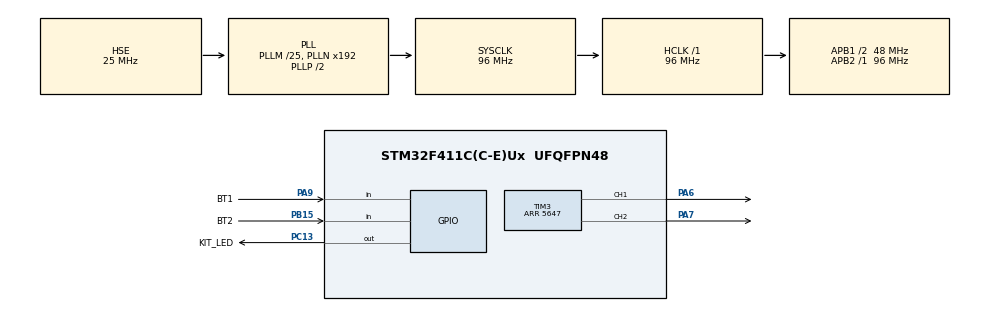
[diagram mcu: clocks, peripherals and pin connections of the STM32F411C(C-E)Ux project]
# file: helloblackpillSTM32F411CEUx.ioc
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Mcu.Family=STM32F4
Mcu.Name=STM32F411C(C-E)Ux
Mcu.Package=UFQFPN48
NVIC.PriorityGroup=NVIC_PRIORITYGROUP_4
NVIC.TIM3_IRQn=true\:0\:0\:false\:false\:true\:true\:true\:true
PA13.Mode=Serial_Wire
PA13.Signal=SYS_JTMS-SWDIO
PA14.Mode=Serial_Wire
PA14.Signal=SYS_JTCK-SWCLK
PA6.Signal=S_TIM3_CH1
PA7.Signal=S_TIM3_CH2
PA9.GPIO_Label=BT1
PA9.Signal=GPIO_Input
PB15.GPIO_Label=BT2
PB15.Signal=GPIO_Input
PC13-ANTI_TAMP.GPIO_Label=KIT_LED
PC13-ANTI_TAMP.Signal=GPIO_Output
PC14-OSC32_IN.Mode=LSE-External-Oscillator
PC14-OSC32_IN.Signal=RCC_OSC32_IN
PC15-OSC32_OUT.Mode=LSE-External-Oscillator
PC15-OSC32_OUT.Signal=RCC_OSC32_OUT
PH0\ -\ OSC_IN.Mode=HSE-External-Oscillator
PH0\ -\ OSC_IN.Signal=RCC_OSC_IN
PH1\ -\ OSC_OUT.Mode=HSE-External-Oscillator
PH1\ -\ OSC_OUT.Signal=RCC_OSC_OUT
ProjectManager.HeapSize=0x200
ProjectManager.StackSize=0x400
ProjectManager.TargetToolchain=Makefile
RCC.48MHZClocksFreq_Value=48000000
RCC.AHBFreq_Value=96000000
RCC.APB1CLKDivider=RCC_HCLK_DIV2
RCC.APB1Freq_Value=48000000
RCC.APB1TimFreq_Value=96000000
RCC.APB2Freq_Value=96000000
RCC.APB2TimFreq_Value=96000000
RCC.CortexFreq_Value=96000000
RCC.HCLKFreq_Value=96000000
RCC.HSE_VALUE=25000000
RCC.HSI_VALUE=16000000
RCC.PLLM=25
RCC.PLLSourceVirtual=RCC_PLLSOURCE_HSE
RCC.SYSCLKFreq_VALUE=96000000
RCC.SYSCLKSource=RCC_SYSCLKSOURCE_PLLCLK
RCC.VCOOutputFreq_Value=192000000
SH.S_TIM3_CH1.0=TIM3_CH1,PWM Generation1 CH1
SH.S_TIM3_CH2.0=TIM3_CH2,PWM Generation2 CH2
TIM3.Channel-PWM\ Generation1\ CH1=TIM_CHANNEL_1
TIM3.Channel-PWM\ Generation2\ CH2=TIM_CHANNEL_2
TIM3.Period=5647
TIM3.Pulse-PWM\ Generation1\ CH1=2824
TIM3.Pulse-PWM\ Generation2\ CH2=2824
VP_TIM3_VS_ClockSourceINT.Mode=Internal
board=custom

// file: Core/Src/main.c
/* USER CODE BEGIN Header */
/**
  ******************************************************************************
  * @file           : main.c
  * @brief          : Main program body
  ******************************************************************************
  * @attention
  *
  * Copyright (c) 2022 STMicroelectronics.
  * All rights reserved.
  *
  * This software is licensed under terms that can be found in the LICENSE file
  * in the root directory of this software component.
  * If no LICENSE file comes with this software, it is provided AS-IS.
  *
  ******************************************************************************
  */
/* USER CODE END Header */
#include "main.h"

/* USER CODE BEGIN Includes */
#include "button.h"

/* USER CODE END Includes */

TIM_HandleTypeDef htim3;

void SystemClock_Config(void);
static void MX_GPIO_Init(void);
static void MX_TIM3_Init(void);

int main(void)
{

  /* USER CODE BEGIN 1 */
    uint32_t i;
    uint32_t j = 0;
  /* USER CODE END 1 */

  /* MCU Configuration--------------------------------------------------------*/

  /* Reset of all peripherals, Initializes the Flash interface and the Systick. */
  HAL_Init();

  /* Configure the system clock */
  SystemClock_Config();

  /* Initialize all configured peripherals */
  MX_GPIO_Init();
  MX_TIM3_Init();
  /* USER CODE BEGIN 2 */
  HAL_TIM_PWM_Start(&htim3, TIM_CHANNEL_1);
  HAL_TIM_PWM_Start(&htim3, TIM_CHANNEL_2);
  /* USER CODE END 2 */

  /* Infinite loop */
  /* USER CODE BEGIN WHILE */
  while (1)
{
    for(i = 0; i < 100; i++)
    {
      htim3.Instance->CCR1 = (htim3.Instance->ARR*i)/100;
      if(button_release(BT1_GPIO_Port, BT1_Pin, 0))
      {
        if(j<200)
        {
          j = j + 25;
          htim3.Instance->CCR2 = (htim3.Instance->ARR*j)/200;
        }
        else if (j>=200)
        {
          j = 200;
          htim3.Instance->CCR2 = (htim3.Instance->ARR*j)/200;
        }
      }
      if(button_release(BT2_GPIO_Port, BT2_Pin, 0))
      {
        if(j>0)
        {
          j = j - 25;
          htim3.Instance->CCR2 = (htim3.Instance->ARR*j)/200;
        }
        else if (j<=0)
        {
          j = 0;
          htim3.Instance->CCR2 = (htim3.Instance->ARR*j)/200;
        }
      }
      HAL_Delay(40);
    }
    for(i = 100; i > 0; i--)
    {
      htim3.Instance->CCR1 = (htim3.Instance->ARR*i)/100;
      if(button_release(BT1_GPIO_Port, BT1_Pin, 0))
      {
        if(j<200)
        {
          j = j + 25;
          htim3.Instance->CCR2 = (htim3.Instance->ARR*j)/200;
        }
        else if (j>=200)
        {
          j = 200;
          htim3.Instance->CCR2 = (htim3.Instance->ARR*j)/200;
        }
      }
      if(button_release(BT2_GPIO_Port, BT2_Pin, 0))
      {
        if(j>0)
        {
          j = j - 25;
          htim3.Instance->CCR2 = (htim3.Instance->ARR*j)/200;
        }
        else if (j<=0)
        {
          j = 0;
          htim3.Instance->CCR2 = (htim3.Instance->ARR*j)/200;
        }
      }
      HAL_Delay(20);
    }
    /* USER CODE END WHILE */

    /* USER CODE BEGIN 3 */
  }

}

    /* USER CODE END WHILE */

    /* USER CODE BEGIN 3 */

  /* USER CODE END 3 */

void SystemClock_Config(void)
{
  RCC_OscInitTypeDef RCC_OscInitStruct = {0};
  RCC_ClkInitTypeDef RCC_ClkInitStruct = {0};

  /** Configure the main internal regulator output voltage
  */
  __HAL_RCC_PWR_CLK_ENABLE();
  __HAL_PWR_VOLTAGESCALING_CONFIG(PWR_REGULATOR_VOLTAGE_SCALE1);

  /** Initializes the RCC Oscillators according to the specified parameters
  * in the RCC_OscInitTypeDef structure.
  */
  RCC_OscInitStruct.OscillatorType = RCC_OSCILLATORTYPE_HSE;
  RCC_OscInitStruct.HSEState = RCC_HSE_ON;
  RCC_OscInitStruct.PLL.PLLState = RCC_PLL_ON;
  RCC_OscInitStruct.PLL.PLLSource = RCC_PLLSOURCE_HSE;
  RCC_OscInitStruct.PLL.PLLM = 25;
  RCC_OscInitStruct.PLL.PLLN = 192;
  RCC_OscInitStruct.PLL.PLLP = RCC_PLLP_DIV2;
  RCC_OscInitStruct.PLL.PLLQ = 4;
  if (HAL_RCC_OscConfig(&RCC_OscInitStruct) != HAL_OK)
  {
    Error_Handler();
  }

  /** Initializes the CPU, AHB and APB buses clocks
  */
  RCC_ClkInitStruct.ClockType = RCC_CLOCKTYPE_HCLK|RCC_CLOCKTYPE_SYSCLK
                              |RCC_CLOCKTYPE_PCLK1|RCC_CLOCKTYPE_PCLK2;
  RCC_ClkInitStruct.SYSCLKSource = RCC_SYSCLKSOURCE_PLLCLK;
  RCC_ClkInitStruct.AHBCLKDivider = RCC_SYSCLK_DIV1;
  RCC_ClkInitStruct.APB1CLKDivider = RCC_HCLK_DIV2;
  RCC_ClkInitStruct.APB2CLKDivider = RCC_HCLK_DIV1;

  if (HAL_RCC_ClockConfig(&RCC_ClkInitStruct, FLASH_LATENCY_3) != HAL_OK)
  {
    Error_Handler();
  }
}

static void MX_TIM3_Init(void)
{

  TIM_ClockConfigTypeDef sClockSourceConfig = {0};
  TIM_MasterConfigTypeDef sMasterConfig = {0};
  TIM_OC_InitTypeDef sConfigOC = {0};

  htim3.Instance = TIM3;
  htim3.Init.Prescaler = 0;
  htim3.Init.CounterMode = TIM_COUNTERMODE_UP;
  htim3.Init.Period = 5647;
  htim3.Init.ClockDivision = TIM_CLOCKDIVISION_DIV1;
  htim3.Init.AutoReloadPreload = TIM_AUTORELOAD_PRELOAD_DISABLE;
  if (HAL_TIM_Base_Init(&htim3) != HAL_OK)
  {
    Error_Handler();
  }
  sClockSourceConfig.ClockSource = TIM_CLOCKSOURCE_INTERNAL;
  if (HAL_TIM_ConfigClockSource(&htim3, &sClockSourceConfig) != HAL_OK)
  {
    Error_Handler();
  }
  if (HAL_TIM_PWM_Init(&htim3) != HAL_OK)
  {
    Error_Handler();
  }
  sMasterConfig.MasterOutputTrigger = TIM_TRGO_RESET;
  sMasterConfig.MasterSlaveMode = TIM_MASTERSLAVEMODE_DISABLE;
  if (HAL_TIMEx_MasterConfigSynchronization(&htim3, &sMasterConfig) != HAL_OK)
  {
    Error_Handler();
  }
  sConfigOC.OCMode = TIM_OCMODE_PWM1;
  sConfigOC.Pulse = 2824;
  sConfigOC.OCPolarity = TIM_OCPOLARITY_HIGH;
  sConfigOC.OCFastMode = TIM_OCFAST_DISABLE;
  if (HAL_TIM_PWM_ConfigChannel(&htim3, &sConfigOC, TIM_CHANNEL_1) != HAL_OK)
  {
    Error_Handler();
  }
  if (HAL_TIM_PWM_ConfigChannel(&htim3, &sConfigOC, TIM_CHANNEL_2) != HAL_OK)
  {
    Error_Handler();
  }
  HAL_TIM_MspPostInit(&htim3);

}

static void MX_GPIO_Init(void)
{
  GPIO_InitTypeDef GPIO_InitStruct = {0};

  /* GPIO Ports Clock Enable */
  __HAL_RCC_GPIOC_CLK_ENABLE();
  __HAL_RCC_GPIOH_CLK_ENABLE();
  __HAL_RCC_GPIOA_CLK_ENABLE();
  __HAL_RCC_GPIOB_CLK_ENABLE();

  /*Configure GPIO pin Output Level */
  HAL_GPIO_WritePin(KIT_LED_GPIO_Port, KIT_LED_Pin, GPIO_PIN_RESET);

  /*Configure GPIO pin : KIT_LED_Pin */
  GPIO_InitStruct.Pin = KIT_LED_Pin;
  GPIO_InitStruct.Mode = GPIO_MODE_OUTPUT_PP;
  GPIO_InitStruct.Pull = GPIO_NOPULL;
  GPIO_InitStruct.Speed = GPIO_SPEED_FREQ_LOW;
  HAL_GPIO_Init(KIT_LED_GPIO_Port, &GPIO_InitStruct);

  /*Configure GPIO pin : BT2_Pin */
  GPIO_InitStruct.Pin = BT2_Pin;
  GPIO_InitStruct.Mode = GPIO_MODE_INPUT;
  GPIO_InitStruct.Pull = GPIO_NOPULL;
  HAL_GPIO_Init(BT2_GPIO_Port, &GPIO_InitStruct);

  /*Configure GPIO pin : BT1_Pin */
  GPIO_InitStruct.Pin = BT1_Pin;
  GPIO_InitStruct.Mode = GPIO_MODE_INPUT;
  GPIO_InitStruct.Pull = GPIO_NOPULL;
  HAL_GPIO_Init(BT1_GPIO_Port, &GPIO_InitStruct);

}

void Error_Handler(void)
{
  __disable_irq();
  while (1)
  {
  }
}
